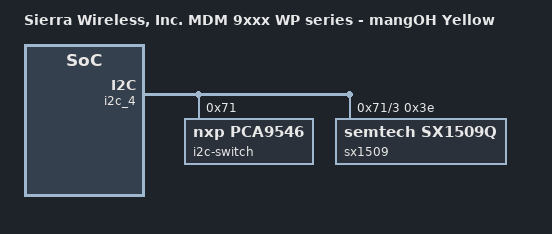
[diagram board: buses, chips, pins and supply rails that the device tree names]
/*
 * Copyright (c) 2019, The Linux Foundation. All rights reserved.
 *
 * This program is free software; you can redistribute it and/or modify
 * it under the terms of the GNU General Public License version 2 and
 * only version 2 as published by the Free Software Foundation.
 *
 * This program is distributed in the hope that it will be useful,
 * but WITHOUT ANY WARRANTY; without even the implied warranty of
 * MERCHANTABILITY or FITNESS FOR A PARTICULAR PURPOSE.  See the
 * GNU General Public License for more details.
 */

#include <dt-bindings/interrupt-controller/irq.h>

/ {
	model = "Sierra Wireless, Inc. MDM 9xxx WP series - mangOH Yellow";
	compatible = "qcom,mdm9607-mtp", "qcom,mdm9607", "qcom,mtp";
	qcom,board-id = <8 0x84>;
};

&soc {
	sierra_gpio {
		alias-TP500		= <&sx1509 0 0>;
		alias-WL_REG_ON		= <&sx1509 1 0>;
		alias-TP501		= <&sx1509 2 0>;
		alias-BT_DEV_WAKE	= <&sx1509 3 0>;
		alias-GENERIC_LED	= <&sx1509 4 0>;
		alias-PCM_EXP_SEL	= <&sx1509 5 0>;
		alias-TP502		= <&sx1509 6 0>;
		alias-TRI_LED_BLUE	= <&sx1509 7 0>;
		alias-CARD_DETECT_IOT0	= <&sx1509 8 0>;
		alias-BATT_GAUGE_GPIO	= <&sx1509 9 0>;
		alias-TRI_LED_RED	= <&sx1509 10 0>;
		alias-BAT_VOL_MONITOR	= <&sx1509 11 0>;
		alias-CHARGER_INT_N	= <&sx1509 12 0>;
		alias-MAG_DATA_READY	= <&sx1509 13 0>;
		alias-RTC_INT		= <&sx1509 14 0>;
		alias-TRI_LED_GREEN	= <&sx1509 15 0>;
	};
};


&i2c_4 {
	i2c-switch@71 {
		compatible = "nxp,pca9546";
		reg = <0x71>;
		#address-cells = <1>;
		#size-cells = <0>;

		i2c@0 {
			#address-cells = <1>;
			#size-cells = <0>;
			reg = <0>;
		};
		i2c@1 {
			#address-cells = <1>;
			#size-cells = <0>;
			reg = <1>;
		};
		i2c@2 {
			#address-cells = <1>;
			#size-cells = <0>;
			reg = <2>;
		};
		i2c@3 {
			#address-cells = <1>;
			#size-cells = <0>;
			reg = <3>;

			sx1509: gpio-expander@3E {
				compatible = "semtech,sx1509q";
				reg = <0x3E>;

				gpio-controller;
				#gpio-cells = <2>;
			};
		};
	};
};
